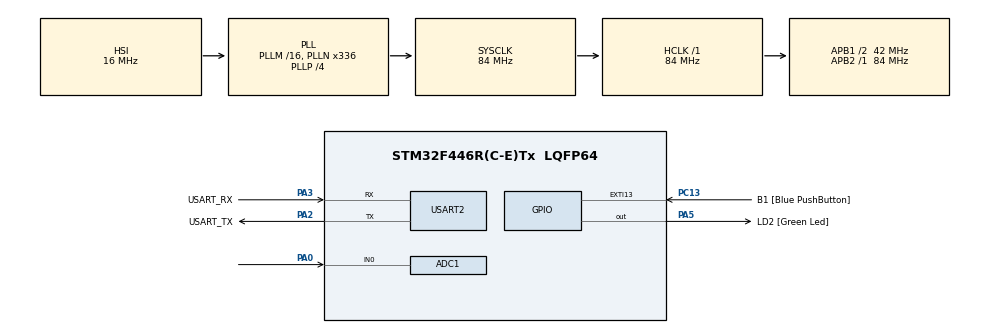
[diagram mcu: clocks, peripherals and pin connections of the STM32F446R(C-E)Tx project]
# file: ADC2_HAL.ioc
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ADC1.Channel-0\#ChannelRegularConversion=ADC_CHANNEL_0
ADC1.Channel-1\#ChannelRegularConversion=ADC_CHANNEL_0
ADC1.NbrOfConversion=2
ADC1.NbrOfConversionFlag=1
ADC1.Rank-0\#ChannelRegularConversion=1
ADC1.Rank-1\#ChannelRegularConversion=2
ADC1.SamplingTime-0\#ChannelRegularConversion=ADC_SAMPLETIME_15CYCLES
ADC1.SamplingTime-1\#ChannelRegularConversion=ADC_SAMPLETIME_480CYCLES
ADC1.master=1
Mcu.Family=STM32F4
Mcu.Name=STM32F446R(C-E)Tx
Mcu.Package=LQFP64
NVIC.PriorityGroup=NVIC_PRIORITYGROUP_0
PA0-WKUP.Signal=ADCx_IN0
PA13.GPIO_Label=TMS
PA13.Mode=Serial_Wire
PA13.Signal=SYS_JTMS-SWDIO
PA14.GPIO_Label=TCK
PA14.Mode=Serial_Wire
PA14.Signal=SYS_JTCK-SWCLK
PA2.GPIO_Label=USART_TX
PA2.Mode=Asynchronous
PA2.Signal=USART2_TX
PA3.GPIO_Label=USART_RX
PA3.Mode=Asynchronous
PA3.Signal=USART2_RX
PA5.GPIO_Label=LD2 [Green Led]
PA5.Signal=GPIO_Output
PB3.GPIO_Label=SWO
PB3.Signal=SYS_JTDO-SWO
PC13.GPIO_Label=B1 [Blue PushButton]
PC13.GPIO_ModeDefaultEXTI=GPIO_MODE_IT_FALLING
PC13.Signal=GPXTI13
PC14-OSC32_IN.Mode=LSE-External-Oscillator
PC14-OSC32_IN.Signal=RCC_OSC32_IN
PC15-OSC32_OUT.Mode=LSE-External-Oscillator
PC15-OSC32_OUT.Signal=RCC_OSC32_OUT
PH0-OSC_IN.Mode=HSE-External-Oscillator
PH0-OSC_IN.Signal=RCC_OSC_IN
PH1-OSC_OUT.Mode=HSE-External-Oscillator
PH1-OSC_OUT.Signal=RCC_OSC_OUT
ProjectManager.HeapSize=0x200
ProjectManager.StackSize=0x400
ProjectManager.TargetToolchain=STM32CubeIDE
RCC.48MHZClocksFreq_Value=84000000
RCC.AHBFreq_Value=84000000
RCC.APB1CLKDivider=RCC_HCLK_DIV2
RCC.APB1Freq_Value=42000000
RCC.APB1TimFreq_Value=84000000
RCC.APB2Freq_Value=84000000
RCC.APB2TimFreq_Value=84000000
RCC.CortexFreq_Value=84000000
RCC.FLatency-AdvancedSettings=FLASH_LATENCY_2
RCC.HCLKFreq_Value=84000000
RCC.HSE_VALUE=8000000
RCC.HSI_VALUE=16000000
RCC.PLLN=336
RCC.PLLP=RCC_PLLP_DIV4
RCC.SYSCLKFreq_VALUE=84000000
RCC.SYSCLKSource=RCC_SYSCLKSOURCE_PLLCLK
RCC.USBFreq_Value=168000000
RCC.VCOOutputFreq_Value=336000000
SH.ADCx_IN0.0=ADC1_IN0,IN0
USART2.VirtualMode=VM_ASYNC
VP_ADC1_TempSens_Input.Mode=IN-TempSens
board=NUCLEO-F446RE

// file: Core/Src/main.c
/* USER CODE BEGIN Header */
/**
  ******************************************************************************
  * @file           : main.c
  * @brief          : Main program body
  ******************************************************************************
  * @attention
  *
  * Copyright (c) 2022 STMicroelectronics.
  * All rights reserved.
  *
  * This software is licensed under terms that can be found in the LICENSE file
  * in the root directory of this software component.
  * If no LICENSE file comes with this software, it is provided AS-IS.
  *
  ******************************************************************************
  */
/* USER CODE END Header */
#include "main.h"

/* USER CODE BEGIN Includes */
#include "stdio.h"
/* USER CODE END Includes */

ADC_HandleTypeDef hadc1;

UART_HandleTypeDef huart2;

void SystemClock_Config(void);
static void MX_GPIO_Init(void);
static void MX_USART2_UART_Init(void);
static void MX_ADC1_Init(void);

int main(void)
{
  /* USER CODE BEGIN 1 */
	uint16_t CAD;
	uint32_t size;
	char sCAD[20] = {0};
  /* USER CODE END 1 */

  /* MCU Configuration--------------------------------------------------------*/

  /* Reset of all peripherals, Initializes the Flash interface and the Systick. */
  HAL_Init();

  /* Configure the system clock */
  SystemClock_Config();

  /* Initialize all configured peripherals */
  MX_GPIO_Init();
  MX_USART2_UART_Init();
  MX_ADC1_Init();

  /* Infinite loop */
  while (1)
  {

    /* USER CODE BEGIN 3 */

//	  HAL_ADC_Start(&hadc1);
//	  if(HAL_ADC_PollForConversion(&hadc1, 5) == HAL_OK)
//	  {
//	  CAD = HAL_ADC_GetValue(&hadc1);
//	  size = sprintf(sCAD,"%u\r\n",CAD);
//	  HAL_UART_Transmit(&huart2, sCAD, size, 100);
//	  HAL_Delay(100);
//	  }

	  HAL_ADC_Start(&hadc1);
	  if(HAL_ADC_PollForConversion(&hadc1, 5) == HAL_OK)
	  {
	  CAD = HAL_ADC_GetValue(&hadc1);
	  size = sprintf(sCAD,"AN0 = %u - ",CAD);
	  HAL_UART_Transmit(&huart2, sCAD, size, 100);
	  HAL_Delay(500);
	  }

	  HAL_ADC_Start(&hadc1);
	  if(HAL_ADC_PollForConversion(&hadc1, 5) == HAL_OK)
	  {
	  CAD = HAL_ADC_GetValue(&hadc1);
	  size = sprintf(sCAD,"TEMP = %u\r\n",CAD);
	  HAL_UART_Transmit(&huart2, sCAD, size, 100);
	  HAL_Delay(500);
	  }
  }
  /* USER CODE END 3 */
}

void SystemClock_Config(void)
{
  RCC_OscInitTypeDef RCC_OscInitStruct = {0};
  RCC_ClkInitTypeDef RCC_ClkInitStruct = {0};

  /** Configure the main internal regulator output voltage
  */
  __HAL_RCC_PWR_CLK_ENABLE();
  __HAL_PWR_VOLTAGESCALING_CONFIG(PWR_REGULATOR_VOLTAGE_SCALE3);

  /** Initializes the RCC Oscillators according to the specified parameters
  * in the RCC_OscInitTypeDef structure.
  */
  RCC_OscInitStruct.OscillatorType = RCC_OSCILLATORTYPE_HSI;
  RCC_OscInitStruct.HSIState = RCC_HSI_ON;
  RCC_OscInitStruct.HSICalibrationValue = RCC_HSICALIBRATION_DEFAULT;
  RCC_OscInitStruct.PLL.PLLState = RCC_PLL_ON;
  RCC_OscInitStruct.PLL.PLLSource = RCC_PLLSOURCE_HSI;
  RCC_OscInitStruct.PLL.PLLM = 16;
  RCC_OscInitStruct.PLL.PLLN = 336;
  RCC_OscInitStruct.PLL.PLLP = RCC_PLLP_DIV4;
  RCC_OscInitStruct.PLL.PLLQ = 2;
  RCC_OscInitStruct.PLL.PLLR = 2;
  if (HAL_RCC_OscConfig(&RCC_OscInitStruct) != HAL_OK)
  {
    Error_Handler();
  }

  /** Initializes the CPU, AHB and APB buses clocks
  */
  RCC_ClkInitStruct.ClockType = RCC_CLOCKTYPE_HCLK|RCC_CLOCKTYPE_SYSCLK
                              |RCC_CLOCKTYPE_PCLK1|RCC_CLOCKTYPE_PCLK2;
  RCC_ClkInitStruct.SYSCLKSource = RCC_SYSCLKSOURCE_PLLCLK;
  RCC_ClkInitStruct.AHBCLKDivider = RCC_SYSCLK_DIV1;
  RCC_ClkInitStruct.APB1CLKDivider = RCC_HCLK_DIV2;
  RCC_ClkInitStruct.APB2CLKDivider = RCC_HCLK_DIV1;

  if (HAL_RCC_ClockConfig(&RCC_ClkInitStruct, FLASH_LATENCY_2) != HAL_OK)
  {
    Error_Handler();
  }
}

static void MX_ADC1_Init(void)
{

  ADC_ChannelConfTypeDef sConfig = {0};

  /** Configure the global features of the ADC (Clock, Resolution, Data Alignment and number of conversion)
  */
  hadc1.Instance = ADC1;
  hadc1.Init.ClockPrescaler = ADC_CLOCK_SYNC_PCLK_DIV4;
  hadc1.Init.Resolution = ADC_RESOLUTION_12B;
  hadc1.Init.ScanConvMode = ENABLE;
  hadc1.Init.ContinuousConvMode = DISABLE;
  hadc1.Init.DiscontinuousConvMode = DISABLE;
  hadc1.Init.ExternalTrigConvEdge = ADC_EXTERNALTRIGCONVEDGE_NONE;
  hadc1.Init.ExternalTrigConv = ADC_SOFTWARE_START;
  hadc1.Init.DataAlign = ADC_DATAALIGN_RIGHT;
  hadc1.Init.NbrOfConversion = 2;
  hadc1.Init.DMAContinuousRequests = DISABLE;
  hadc1.Init.EOCSelection = ADC_EOC_SINGLE_CONV;
  if (HAL_ADC_Init(&hadc1) != HAL_OK)
  {
    Error_Handler();
  }

  /** Configure for the selected ADC regular channel its corresponding rank in the sequencer and its sample time.
  */
  sConfig.Channel = ADC_CHANNEL_0;
  sConfig.Rank = 1;
  sConfig.SamplingTime = ADC_SAMPLETIME_15CYCLES;
  if (HAL_ADC_ConfigChannel(&hadc1, &sConfig) != HAL_OK)
  {
    Error_Handler();
  }

  /** Configure for the selected ADC regular channel its corresponding rank in the sequencer and its sample time.
  */
  sConfig.Rank = 2;
  sConfig.SamplingTime = ADC_SAMPLETIME_480CYCLES;
  if (HAL_ADC_ConfigChannel(&hadc1, &sConfig) != HAL_OK)
  {
    Error_Handler();
  }

}

static void MX_USART2_UART_Init(void)
{

  huart2.Instance = USART2;
  huart2.Init.BaudRate = 115200;
  huart2.Init.WordLength = UART_WORDLENGTH_8B;
  huart2.Init.StopBits = UART_STOPBITS_1;
  huart2.Init.Parity = UART_PARITY_NONE;
  huart2.Init.Mode = UART_MODE_TX_RX;
  huart2.Init.HwFlowCtl = UART_HWCONTROL_NONE;
  huart2.Init.OverSampling = UART_OVERSAMPLING_16;
  if (HAL_UART_Init(&huart2) != HAL_OK)
  {
    Error_Handler();
  }

}

static void MX_GPIO_Init(void)
{
  GPIO_InitTypeDef GPIO_InitStruct = {0};

  /* GPIO Ports Clock Enable */
  __HAL_RCC_GPIOC_CLK_ENABLE();
  __HAL_RCC_GPIOH_CLK_ENABLE();
  __HAL_RCC_GPIOA_CLK_ENABLE();
  __HAL_RCC_GPIOB_CLK_ENABLE();

  /*Configure GPIO pin Output Level */
  HAL_GPIO_WritePin(LD2_GPIO_Port, LD2_Pin, GPIO_PIN_RESET);

  /*Configure GPIO pin : B1_Pin */
  GPIO_InitStruct.Pin = B1_Pin;
  GPIO_InitStruct.Mode = GPIO_MODE_IT_FALLING;
  GPIO_InitStruct.Pull = GPIO_NOPULL;
  HAL_GPIO_Init(B1_GPIO_Port, &GPIO_InitStruct);

  /*Configure GPIO pin : LD2_Pin */
  GPIO_InitStruct.Pin = LD2_Pin;
  GPIO_InitStruct.Mode = GPIO_MODE_OUTPUT_PP;
  GPIO_InitStruct.Pull = GPIO_NOPULL;
  GPIO_InitStruct.Speed = GPIO_SPEED_FREQ_LOW;
  HAL_GPIO_Init(LD2_GPIO_Port, &GPIO_InitStruct);

}

void Error_Handler(void)
{
  __disable_irq();
  while (1)
  {
  }
}
